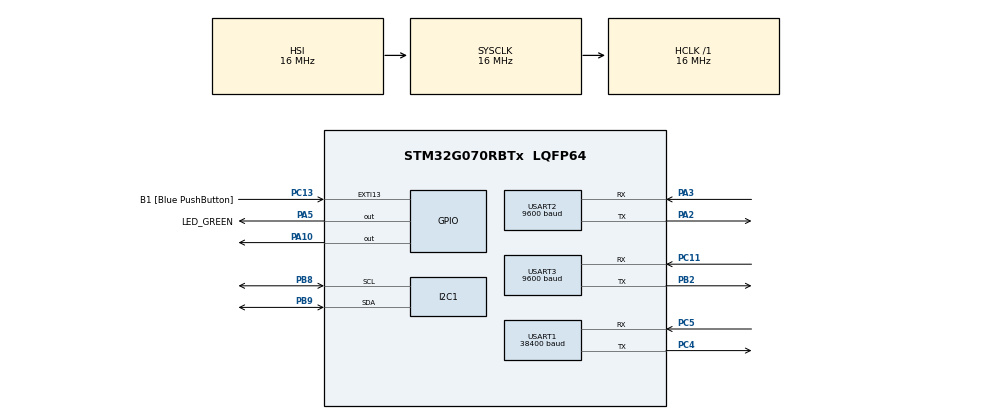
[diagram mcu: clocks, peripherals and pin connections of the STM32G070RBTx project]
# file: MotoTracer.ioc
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Dma.Request0=USART1_RX
Dma.USART1_RX.0.Direction=DMA_PERIPH_TO_MEMORY
Dma.USART1_RX.0.EventEnable=DISABLE
Dma.USART1_RX.0.Instance=DMA1_Channel1
Dma.USART1_RX.0.MemDataAlignment=DMA_MDATAALIGN_BYTE
Dma.USART1_RX.0.MemInc=DMA_MINC_ENABLE
Dma.USART1_RX.0.Mode=DMA_CIRCULAR
Dma.USART1_RX.0.PeriphDataAlignment=DMA_PDATAALIGN_BYTE
Dma.USART1_RX.0.PeriphInc=DMA_PINC_DISABLE
Dma.USART1_RX.0.Polarity=HAL_DMAMUX_REQ_GEN_RISING
Dma.USART1_RX.0.Priority=DMA_PRIORITY_LOW
Dma.USART1_RX.0.RequestNumber=1
Dma.USART1_RX.0.SignalID=NONE
Dma.USART1_RX.0.SyncEnable=DISABLE
Dma.USART1_RX.0.SyncPolarity=HAL_DMAMUX_SYNC_NO_EVENT
Dma.USART1_RX.0.SyncRequestNumber=1
Dma.USART1_RX.0.SyncSignalID=NONE
Mcu.Family=STM32G0
Mcu.Name=STM32G070RBTx
Mcu.Package=LQFP64
NVIC.DMA1_Channel1_IRQn=true\:0\:0\:false\:false\:true\:false\:true\:true
NVIC.EXTI4_15_IRQn=true\:0\:0\:false\:false\:true\:true\:true\:true
PA10.GPIO_PuPd=GPIO_PULLDOWN
PA10.GPIO_Speed=GPIO_SPEED_FREQ_HIGH
PA10.PinState=GPIO_PIN_RESET
PA10.Signal=GPIO_Output
PA13.GPIO_Label=TMS
PA13.Mode=Serial_Wire
PA13.Signal=SYS_SWDIO
PA14-BOOT0.GPIO_Label=TCK
PA14-BOOT0.Mode=Serial_Wire
PA14-BOOT0.Signal=SYS_SWCLK
PA2.GPIO_PuPd=GPIO_PULLUP
PA2.Mode=Asynchronous
PA2.Signal=USART2_TX
PA3.GPIO_PuPd=GPIO_PULLUP
PA3.Mode=Asynchronous
PA3.Signal=USART2_RX
PA5.GPIO_Label=LED_GREEN
PA5.GPIO_Speed=GPIO_SPEED_FREQ_HIGH
PA5.Signal=GPIO_Output
PB2.Mode=Asynchronous
PB2.Signal=USART3_TX
PB8.Mode=I2C
PB8.Signal=I2C1_SCL
PB9.Mode=I2C
PB9.Signal=I2C1_SDA
PC11.Mode=Asynchronous
PC11.Signal=USART3_RX
PC13.GPIO_Label=B1 [Blue PushButton]
PC13.Signal=GPXTI13
PC14-OSC32_IN\ (PC14).Mode=LSE-External-Oscillator
PC14-OSC32_IN\ (PC14).Signal=RCC_OSC32_IN
PC15-OSC32_OUT\ (PC15).Mode=LSE-External-Oscillator
PC15-OSC32_OUT\ (PC15).Signal=RCC_OSC32_OUT
PC4.Mode=Asynchronous
PC4.Signal=USART1_TX
PC5.Mode=Asynchronous
PC5.Signal=USART1_RX
PF0-OSC_IN\ (PF0).GPIO_Label=MCO
PF0-OSC_IN\ (PF0).Mode=HSE-External-Clock-Source
PF0-OSC_IN\ (PF0).Signal=RCC_OSC_IN
ProjectManager.HeapSize=0x200
ProjectManager.StackSize=0x400
ProjectManager.TargetToolchain=STM32CubeIDE
RCC.AHBFreq_Value=16000000
RCC.CortexFreq_Value=16000000
RCC.EXTERNAL_CLOCK_VALUE=12288000
RCC.HCLKFreq_Value=16000000
RCC.HSE_VALUE=8000000
RCC.HSI_VALUE=16000000
RCC.SYSCLKFreq_VALUE=16000000
RCC.VCOOutputFreq_Value=128000000
USART1.BaudRate=38400
USART1.VirtualMode-Asynchronous=VM_ASYNC
USART2.BaudRate=9600
USART2.VirtualMode-Asynchronous=VM_ASYNC
USART2.WordLength=WORDLENGTH_8B
USART3.BaudRate=9600
USART3.VirtualMode-Asynchronous=VM_ASYNC
VP_SYS_VS_DBSignals.Mode=DisableDeadBatterySignals
board=NUCLEO-G070RB

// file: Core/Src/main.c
/* USER CODE BEGIN Header */
/**
  ******************************************************************************
  * @file           : main.c
  * @brief          : Main program body
  ******************************************************************************
  * @attention
  *
  * Copyright (c) 2023 STMicroelectronics.
  * All rights reserved.
  *
  * This software is licensed under terms that can be found in the LICENSE file
  * in the root directory of this software component.
  * If no LICENSE file comes with this software, it is provided AS-IS.
  *
  ******************************************************************************
  */
/* USER CODE END Header */
#include "main.h"

/* USER CODE BEGIN Includes */
#include "string.h"
#include "stdlib.h"
#include "stdio.h"

#include "sim800.h"
#include "m8n.h"
#include "mma8452q.h"

/* USER CODE END Includes */

/* USER CODE BEGIN PTD */

#define BUFF_SIZE 700
#define SMS_SIZE 6
#define STD_SMS_SEND_LOCATION "LOCATE"
#define NO_GPS_LOCK "NO GPS LOCK"

/* USER CODE END PTD */

/* USER CODE BEGIN PD */
uint8_t UART1_rxBuffer[BUFF_SIZE] = {0};
uint8_t UART3_rxBuffer[BUFF_SIZE] = {0};
char nmea_raw_data[BUFF_SIZE];
char loc_str[50] = "NO GPS LOCK";
int gps_lock_count = 0;
//int flag = 0;
uint8_t wakeup_flag = 0;
uint8_t stay_awake_flag = 1;
uint8_t send_loc_flag = 0;
uint8_t gps_lock_flag = 0;
char mobileNumber[] = "+32456413932";

/* USER CODE END PD */

 I2C_HandleTypeDef hi2c1;

UART_HandleTypeDef huart1;
UART_HandleTypeDef huart2;
UART_HandleTypeDef huart3;
DMA_HandleTypeDef hdma_usart1_rx;

void SystemClock_Config(void);
static void MX_GPIO_Init(void);
static void MX_USART2_UART_Init(void);
static void MX_DMA_Init(void);
static void MX_USART1_UART_Init(void);
static void MX_USART3_UART_Init(void);
static void MX_I2C1_Init(void);
/* USER CODE BEGIN PFP */

//this function will check various conditions
uint8_t watch_conditions(){

	//if we just woke up
	if (wakeup_flag == 1){

		//reseting the huart3 >> note 40
		HAL_Delay(3000);
		MX_USART3_UART_Init();

		//read sms
		char* sms;
		sim800_read_sms(&sms, 1, huart2, huart3);
		//if sms content corresponds to a location request
		if(strstr(sms,STD_SMS_SEND_LOCATION)){
			//set send_loc_flag
			send_loc_flag = 1;
		}
		//reset flag
		wakeup_flag = 0;
	}
	//if we need to stay awake
	else if (stay_awake_flag == 1){

		//HAL_Delay(500);

		//sim800_originate_call(1, huart2, huart3, mobileNumber);

		mma8452q_motion_detection(1, &huart2, &hi2c1);

		HAL_Delay(50);

	}
	//if we have a location request
	else if (send_loc_flag == 1){
		//check that we have a gps lock
		if (gps_lock_flag){
			//send sms back with our location
			sim800_send_sms(loc_str, 1, huart2, huart3, mobileNumber);
			//reseting the huart3 >> note 40
			HAL_Delay(3000);
			MX_USART3_UART_Init();
			//switch led off
			HAL_GPIO_WritePin(GPIOA, GPIO_PIN_5, GPIO_PIN_RESET);
			//switch gps off
			//HAL_GPIO_WritePin(GPIOA, GPIO_PIN_10, GPIO_PIN_RESET);
			//reset flags
			send_loc_flag = 0;
		}
	}
	//if we have no purpose to stay awake (no flag is on)
	else {
		//delete all sms
		sim800_delete_all_sms(1, huart2, huart3);
		//go low power mode
	    //NOTE : code for low power mode testing ...
	    char sentence[50] = "";
	    sprintf(sentence,"Entering stop mode...\r\n");
	    HAL_UART_Transmit(&huart2, (uint8_t*) sentence, strlen(sentence), 100);

	    //suspend the DMA (avoid wake up from UART)
	    HAL_UART_DMAPause(&huart1);

	    HAL_SuspendTick();
	    //HAL_PWR_EnterSLEEPMode(PWR_MAINREGULATOR_ON, PWR_SLEEPENTRY_WFI);
	    HAL_PWR_EnterSTOPMode(PWR_LOWPOWERREGULATOR_ON, PWR_STOPENTRY_WFI);
	}
}

/* USER CODE END PFP */

int main(void)
{

  /* MCU Configuration--------------------------------------------------------*/

  /* Reset of all peripherals, Initializes the Flash interface and the Systick. */
  HAL_Init();

  /* Configure the system clock */
  SystemClock_Config();

  /* Initialize all configured peripherals */
  MX_GPIO_Init();
  MX_USART2_UART_Init();
  MX_DMA_Init();
  MX_USART1_UART_Init();
  MX_USART3_UART_Init();
  MX_I2C1_Init();
  /* USER CODE BEGIN 2 */
  //setup gsm module
  sim800_setup(1, huart2, huart3);

  //setup accelerometer
  mma8452q_setup(1, &huart2, &hi2c1);

  //switch GPS module on
  //init DMA
  HAL_UART_Receive_DMA (&huart1, (uint8_t*)UART1_rxBuffer, 700);
  //turn gps module on
  HAL_GPIO_WritePin(GPIOA, GPIO_PIN_10, GPIO_PIN_SET);

  /* USER CODE END 2 */

  /* Infinite loop */
  /* USER CODE BEGIN WHILE */
  while (1)
  {
	//TODO : write lines below with strcpy and (char*)
	//copy buffer content into char array
	int i = 0;
    for (i=0;i<BUFF_SIZE;i++){
        nmea_raw_data[i] = (char) UART1_rxBuffer[i];
    }

    //extract location under "DDD,DDD" format
    gps_lock_flag = m8n_read_location(nmea_raw_data, &loc_str, huart2, &gps_lock_count);

    watch_conditions();

    /* USER CODE END WHILE */

  }
}

void SystemClock_Config(void)
{
  RCC_OscInitTypeDef RCC_OscInitStruct = {0};
  RCC_ClkInitTypeDef RCC_ClkInitStruct = {0};

  /** Configure the main internal regulator output voltage
  */
  HAL_PWREx_ControlVoltageScaling(PWR_REGULATOR_VOLTAGE_SCALE1);

  /** Initializes the RCC Oscillators according to the specified parameters
  * in the RCC_OscInitTypeDef structure.
  */
  RCC_OscInitStruct.OscillatorType = RCC_OSCILLATORTYPE_HSI;
  RCC_OscInitStruct.HSIState = RCC_HSI_ON;
  RCC_OscInitStruct.HSIDiv = RCC_HSI_DIV1;
  RCC_OscInitStruct.HSICalibrationValue = RCC_HSICALIBRATION_DEFAULT;
  RCC_OscInitStruct.PLL.PLLState = RCC_PLL_NONE;
  if (HAL_RCC_OscConfig(&RCC_OscInitStruct) != HAL_OK)
  {
    Error_Handler();
  }

  /** Initializes the CPU, AHB and APB buses clocks
  */
  RCC_ClkInitStruct.ClockType = RCC_CLOCKTYPE_HCLK|RCC_CLOCKTYPE_SYSCLK
                              |RCC_CLOCKTYPE_PCLK1;
  RCC_ClkInitStruct.SYSCLKSource = RCC_SYSCLKSOURCE_HSI;
  RCC_ClkInitStruct.AHBCLKDivider = RCC_SYSCLK_DIV1;
  RCC_ClkInitStruct.APB1CLKDivider = RCC_HCLK_DIV1;

  if (HAL_RCC_ClockConfig(&RCC_ClkInitStruct, FLASH_LATENCY_0) != HAL_OK)
  {
    Error_Handler();
  }
}

static void MX_I2C1_Init(void)
{

  hi2c1.Instance = I2C1;
  hi2c1.Init.Timing = 0x00303D5B;
  hi2c1.Init.OwnAddress1 = 0;
  hi2c1.Init.AddressingMode = I2C_ADDRESSINGMODE_7BIT;
  hi2c1.Init.DualAddressMode = I2C_DUALADDRESS_DISABLE;
  hi2c1.Init.OwnAddress2 = 0;
  hi2c1.Init.OwnAddress2Masks = I2C_OA2_NOMASK;
  hi2c1.Init.GeneralCallMode = I2C_GENERALCALL_DISABLE;
  hi2c1.Init.NoStretchMode = I2C_NOSTRETCH_DISABLE;
  if (HAL_I2C_Init(&hi2c1) != HAL_OK)
  {
    Error_Handler();
  }

  /** Configure Analogue filter
  */
  if (HAL_I2CEx_ConfigAnalogFilter(&hi2c1, I2C_ANALOGFILTER_ENABLE) != HAL_OK)
  {
    Error_Handler();
  }

  /** Configure Digital filter
  */
  if (HAL_I2CEx_ConfigDigitalFilter(&hi2c1, 0) != HAL_OK)
  {
    Error_Handler();
  }

}

static void MX_USART1_UART_Init(void)
{

  huart1.Instance = USART1;
  huart1.Init.BaudRate = 38400;
  huart1.Init.WordLength = UART_WORDLENGTH_8B;
  huart1.Init.StopBits = UART_STOPBITS_1;
  huart1.Init.Parity = UART_PARITY_NONE;
  huart1.Init.Mode = UART_MODE_TX_RX;
  huart1.Init.HwFlowCtl = UART_HWCONTROL_NONE;
  huart1.Init.OverSampling = UART_OVERSAMPLING_16;
  huart1.Init.OneBitSampling = UART_ONE_BIT_SAMPLE_DISABLE;
  huart1.Init.ClockPrescaler = UART_PRESCALER_DIV1;
  huart1.AdvancedInit.AdvFeatureInit = UART_ADVFEATURE_NO_INIT;
  if (HAL_UART_Init(&huart1) != HAL_OK)
  {
    Error_Handler();
  }
  if (HAL_UARTEx_SetTxFifoThreshold(&huart1, UART_TXFIFO_THRESHOLD_1_8) != HAL_OK)
  {
    Error_Handler();
  }
  if (HAL_UARTEx_SetRxFifoThreshold(&huart1, UART_RXFIFO_THRESHOLD_1_8) != HAL_OK)
  {
    Error_Handler();
  }
  if (HAL_UARTEx_DisableFifoMode(&huart1) != HAL_OK)
  {
    Error_Handler();
  }

}

static void MX_USART2_UART_Init(void)
{

  huart2.Instance = USART2;
  huart2.Init.BaudRate = 9600;
  huart2.Init.WordLength = UART_WORDLENGTH_8B;
  huart2.Init.StopBits = UART_STOPBITS_1;
  huart2.Init.Parity = UART_PARITY_NONE;
  huart2.Init.Mode = UART_MODE_TX_RX;
  huart2.Init.HwFlowCtl = UART_HWCONTROL_NONE;
  huart2.Init.OverSampling = UART_OVERSAMPLING_16;
  huart2.Init.OneBitSampling = UART_ONE_BIT_SAMPLE_DISABLE;
  huart2.Init.ClockPrescaler = UART_PRESCALER_DIV1;
  huart2.AdvancedInit.AdvFeatureInit = UART_ADVFEATURE_NO_INIT;
  if (HAL_UART_Init(&huart2) != HAL_OK)
  {
    Error_Handler();
  }
  if (HAL_UARTEx_SetTxFifoThreshold(&huart2, UART_TXFIFO_THRESHOLD_1_8) != HAL_OK)
  {
    Error_Handler();
  }
  if (HAL_UARTEx_SetRxFifoThreshold(&huart2, UART_RXFIFO_THRESHOLD_1_8) != HAL_OK)
  {
    Error_Handler();
  }
  if (HAL_UARTEx_DisableFifoMode(&huart2) != HAL_OK)
  {
    Error_Handler();
  }

}

static void MX_USART3_UART_Init(void)
{

  huart3.Instance = USART3;
  huart3.Init.BaudRate = 9600;
  huart3.Init.WordLength = UART_WORDLENGTH_8B;
  huart3.Init.StopBits = UART_STOPBITS_1;
  huart3.Init.Parity = UART_PARITY_NONE;
  huart3.Init.Mode = UART_MODE_TX_RX;
  huart3.Init.HwFlowCtl = UART_HWCONTROL_NONE;
  huart3.Init.OverSampling = UART_OVERSAMPLING_16;
  huart3.Init.OneBitSampling = UART_ONE_BIT_SAMPLE_DISABLE;
  huart3.Init.ClockPrescaler = UART_PRESCALER_DIV1;
  huart3.AdvancedInit.AdvFeatureInit = UART_ADVFEATURE_NO_INIT;
  if (HAL_UART_Init(&huart3) != HAL_OK)
  {
    Error_Handler();
  }

}

static void MX_DMA_Init(void)
{

  /* DMA controller clock enable */
  __HAL_RCC_DMA1_CLK_ENABLE();

  /* DMA interrupt init */
  /* DMA1_Channel1_IRQn interrupt configuration */
  HAL_NVIC_SetPriority(DMA1_Channel1_IRQn, 0, 0);
  HAL_NVIC_EnableIRQ(DMA1_Channel1_IRQn);

}

static void MX_GPIO_Init(void)
{
  GPIO_InitTypeDef GPIO_InitStruct = {0};

  /* GPIO Ports Clock Enable */
  __HAL_RCC_GPIOC_CLK_ENABLE();
  __HAL_RCC_GPIOF_CLK_ENABLE();
  __HAL_RCC_GPIOA_CLK_ENABLE();
  __HAL_RCC_GPIOB_CLK_ENABLE();

  /*Configure GPIO pin Output Level */
  HAL_GPIO_WritePin(GPIOA, LED_GREEN_Pin|GPIO_PIN_10, GPIO_PIN_RESET);

  /*Configure GPIO pin : B1_Pin */
  GPIO_InitStruct.Pin = B1_Pin;
  GPIO_InitStruct.Mode = GPIO_MODE_IT_RISING;
  GPIO_InitStruct.Pull = GPIO_NOPULL;
  HAL_GPIO_Init(B1_GPIO_Port, &GPIO_InitStruct);

  /*Configure GPIO pin : LED_GREEN_Pin */
  GPIO_InitStruct.Pin = LED_GREEN_Pin;
  GPIO_InitStruct.Mode = GPIO_MODE_OUTPUT_PP;
  GPIO_InitStruct.Pull = GPIO_NOPULL;
  GPIO_InitStruct.Speed = GPIO_SPEED_FREQ_HIGH;
  HAL_GPIO_Init(LED_GREEN_GPIO_Port, &GPIO_InitStruct);

  /*Configure GPIO pin : PA10 */
  GPIO_InitStruct.Pin = GPIO_PIN_10;
  GPIO_InitStruct.Mode = GPIO_MODE_OUTPUT_PP;
  GPIO_InitStruct.Pull = GPIO_PULLDOWN;
  GPIO_InitStruct.Speed = GPIO_SPEED_FREQ_HIGH;
  HAL_GPIO_Init(GPIOA, &GPIO_InitStruct);

  /* EXTI interrupt init*/
  HAL_NVIC_SetPriority(EXTI4_15_IRQn, 0, 0);
  HAL_NVIC_EnableIRQ(EXTI4_15_IRQn);

}

/* USER CODE BEGIN 4 */

void HAL_UART_RxCpltCallback(UART_HandleTypeDef *huart)
{
	/*
	//if (huart == &huart3){
		char debug_str[] = "In call back DMA 3. Forwarding from SIM800 :\r\n";
	    HAL_UART_Transmit(&huart2, (uint8_t*) debug_str, strlen(debug_str), 100);
	    HAL_UART_Transmit(&huart2, UART3_rxBuffer, sizeof(debug_str), 1000);
	//}
	 * */

  	//NOTE : code for low power mode testing ...
  	//HAL_ResumeTick();

    //char sentence[50] = "";
    //sprintf(sentence,"Wake up from sleep mode by UART...\r\n");
    //HAL_UART_Transmit(&huart2, (uint8_t*) sentence, strlen(sentence), 100);
}

void HAL_GPIO_EXTI_Rising_Callback(uint16_t GPIO_Pin)
{

	if(GPIO_Pin == GPIO_PIN_13) {

		//switch led on
		//HAL_GPIO_WritePin(GPIOA, GPIO_PIN_5, GPIO_PIN_SET);
		//Wait 100 ms
		//HAL_Delay(100);
		//switch led off
		//HAL_GPIO_WritePin(GPIOA, GPIO_PIN_5, GPIO_PIN_RESET);
		//turn gps module on
		//HAL_GPIO_WritePin(GPIOA, GPIO_PIN_10, GPIO_PIN_SET);

		//set flag on
		//flag = 1;

  } else {
      __NOP();
  }
}

void HAL_GPIO_EXTI_Falling_Callback(uint16_t GPIO_Pin)
{
  if(GPIO_Pin == GPIO_PIN_12) {

	  	//NOTE : code for low power mode testing ...
	  	SystemClock_Config ();
	  	HAL_ResumeTick();
	  	//turn DMA on again
	  	HAL_UART_DMAResume(&huart1);

	    char sentence[50] = "";
	    sprintf(sentence,"Wake up from stop mode by EXTI...\r\n");
	    HAL_UART_Transmit(&huart2, (uint8_t*) sentence, strlen(sentence), 100);

		//switch led on
		HAL_GPIO_WritePin(GPIOA, GPIO_PIN_5, GPIO_PIN_SET);
		//turn gps module on ==> should be done before waking the stm up
		//HAL_GPIO_WritePin(GPIOA, GPIO_PIN_10, GPIO_PIN_SET);
		//set flag on
		wakeup_flag = 1;

  } else {
      __NOP();
  }
}

/* USER CODE END 4 */

void Error_Handler(void)
{
  __disable_irq();
  while (1)
  {
  }
}
